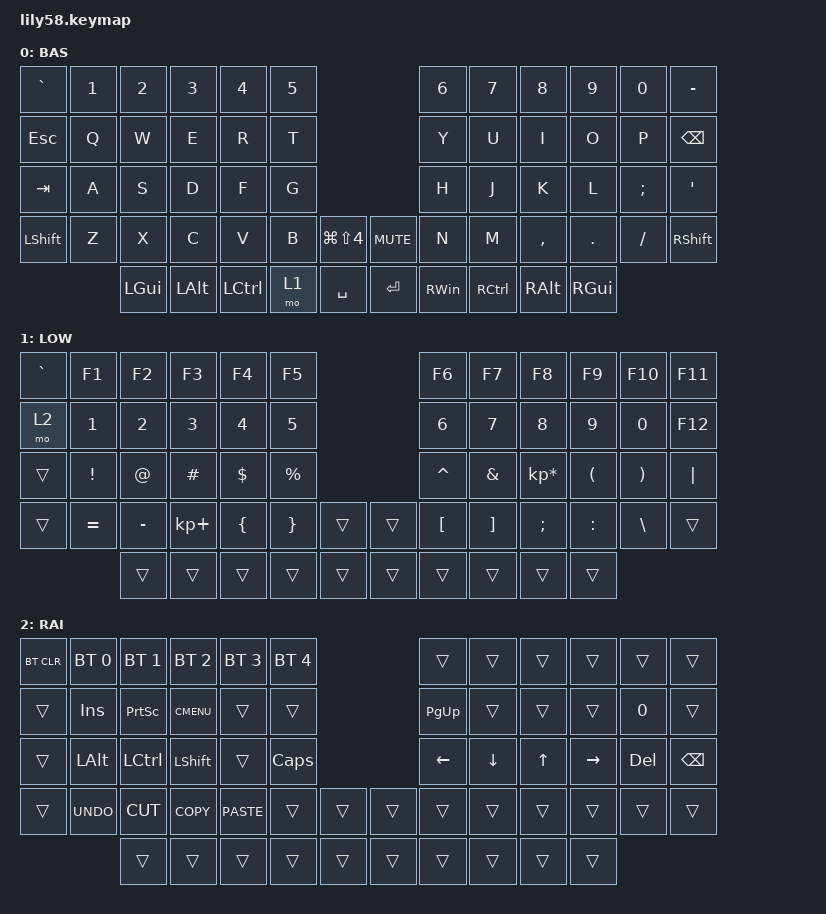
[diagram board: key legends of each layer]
/*
 * Copyright (c) 2020 The ZMK Contributors
 *
 * SPDX-License-Identifier: MIT
 */

#include <behaviors.dtsi>
#include <dt-bindings/zmk/bt.h>
#include <dt-bindings/zmk/keys.h>

/ {
    keymap {
        compatible = "zmk,keymap";

        default_layer {
            display-name = "BAS";

            bindings = <
&kp GRAVE  &kp N1  &kp N2    &kp N3    &kp N4     &kp N5                                &kp N6         &kp N7     &kp N8     &kp N9    &kp N0    &kp MINUS
&kp ESC    &kp Q   &kp W     &kp E     &kp R      &kp T                                 &kp Y          &kp U      &kp I      &kp O     &kp P     &kp BSPC
&kp TAB    &kp A   &kp S     &kp D     &kp F      &kp G                                 &kp H          &kp J      &kp K      &kp L     &kp SEMI  &kp SQT
&kp LSHFT  &kp Z   &kp X     &kp C     &kp V      &kp B   &kp LG(LS(N4))    &kp C_MUTE  &kp N          &kp M      &kp COMMA  &kp DOT   &kp FSLH  &kp RSHFT
                   &kp LGUI  &kp LALT  &kp LCTRL  &mo 1   &kp SPACE         &kp RET     &kp RIGHT_WIN  &kp RCTRL  &kp RALT   &kp RGUI
            >;
        };

        lower_layer {
            display-name = "LOW";

            bindings = <
&kp GRAVE  &kp F1     &kp F2     &kp F3       &kp F4    &kp F5                       &kp F6     &kp F7    &kp F8           &kp F9     &kp F10   &kp F11
&mo 2      &kp N1     &kp N2     &kp N3       &kp N4    &kp N5                       &kp N6     &kp N7    &kp N8           &kp N9     &kp N0    &kp F12
&trans     &kp EXCL   &kp AT     &kp HASH     &kp DLLR  &kp PRCNT                    &kp CARET  &kp AMPS  &kp KP_MULTIPLY  &kp LPAR   &kp RPAR  &kp PIPE
&trans     &kp EQUAL  &kp MINUS  &kp KP_PLUS  &kp LBRC  &kp RBRC   &trans    &trans  &kp LBKT   &kp RBKT  &kp SEMI         &kp COLON  &kp BSLH  &trans
                      &trans     &trans       &trans    &trans     &trans    &trans  &trans     &trans    &trans           &trans
            >;
        };

        raise_layer {
            display-name = "RAI";

            bindings = <
&bt BT_CLR  &bt BT_SEL 0  &bt BT_SEL 1  &bt BT_SEL 2  &bt BT_SEL 3  &bt BT_SEL 4                    &trans     &trans    &trans  &trans     &trans   &trans
&trans      &kp INS       &kp PSCRN     &kp K_CMENU   &trans        &trans                          &kp PG_UP  &trans    &trans  &trans     &kp N0   &trans
&trans      &kp LALT      &kp LCTRL     &kp LSHFT     &trans        &kp CLCK                        &kp LEFT   &kp DOWN  &kp UP  &kp RIGHT  &kp DEL  &kp BSPC
&trans      &kp K_UNDO    &kp K_CUT     &kp K_COPY    &kp K_PASTE   &trans        &trans    &trans  &trans     &trans    &trans  &trans     &trans   &trans
                          &trans        &trans        &trans        &trans        &trans    &trans  &trans     &trans    &trans  &trans
            >;
        };
    };
};
